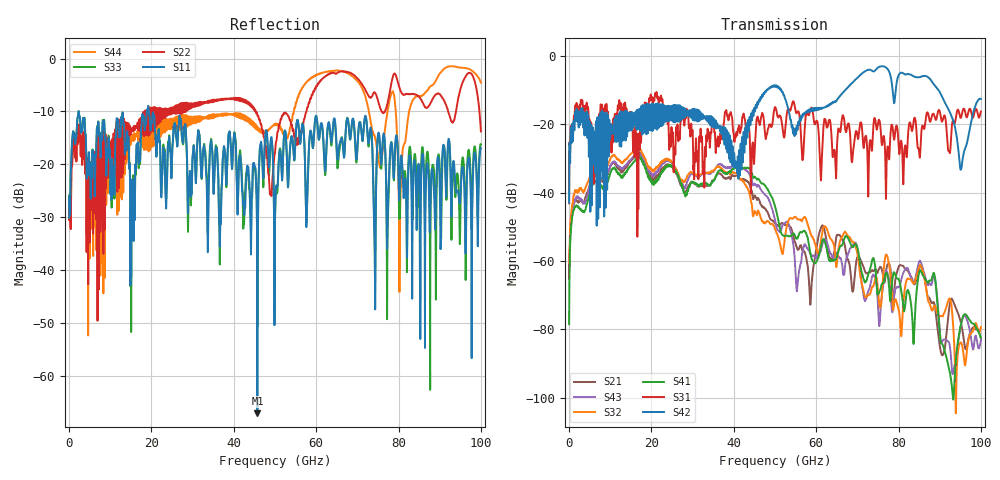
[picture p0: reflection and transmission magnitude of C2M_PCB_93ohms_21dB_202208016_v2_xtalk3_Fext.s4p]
! Info: Touchstone file created by Circ.  Input file=Intel_C2M_200G_8p0in_202208016_staggered.circ
# Hz S RI R 50
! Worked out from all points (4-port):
!   10000 points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, 10 MHz to 100 GHz, reference 50 ohm
!   strongest paths, dB at 10 MHz, 25.01 GHz, 50.01 GHz, 75.01 GHz, 100 GHz:
!     S42: -42.9, -16.8, -8.6, -3.4, -12.5
!     S31: -43.1, -24.8, -14.9, -19.8, -16.2
!     S41: -78.5, -32.4, -44.0, -69.5, -82.4
!     S32: -65.2, -30.9, -50.6, -68.4, -79.3
!     S43: -64.9, -31.1, -48.0, -73.2, -83.1
!     S21: -62.8, -32.5, -49.0, -63.0, -82.6
!   lowest |S11| = -67.0 dB at 45.73 GHz (marker M1), VSWR 1.00, Z = 50 - j0.0378 ohm
!   |S11| at or under -10 dB: start of sweep to 2.299 GHz; 2.343 GHz to 18.86 GHz (16.51 GHz wide, 156 % of centre); 19.35 GHz to end of sweep
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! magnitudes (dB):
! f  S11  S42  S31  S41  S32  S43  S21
! 10 MHz  -30.1  -42.9  -43.1  -78.5  -65.2  -64.9  -62.8
! 10.67 GHz  -23.3  -20.9  -21.9  -32.7  -29.0  -30.9  -31.1
! 45.73 GHz  -67.0  -13.5  -17.7  -36.1  -45.8  -38.0  -41.9
! 55.42 GHz  -11.6  -21.4  -16.4  -53.4  -47.7  -67.4  -56.4
! 80.35 GHz  -22.1  -5.1  -27.1  -66.4  -77.1  -66.9  -61.2
! 95.17 GHz  -23.5  -33.1  -18.0  -78.4  -83.8  -78.7  -78.1
! 100 GHz  -16.9  -12.5  -16.2  -82.4  -79.3  -83.1  -82.6
